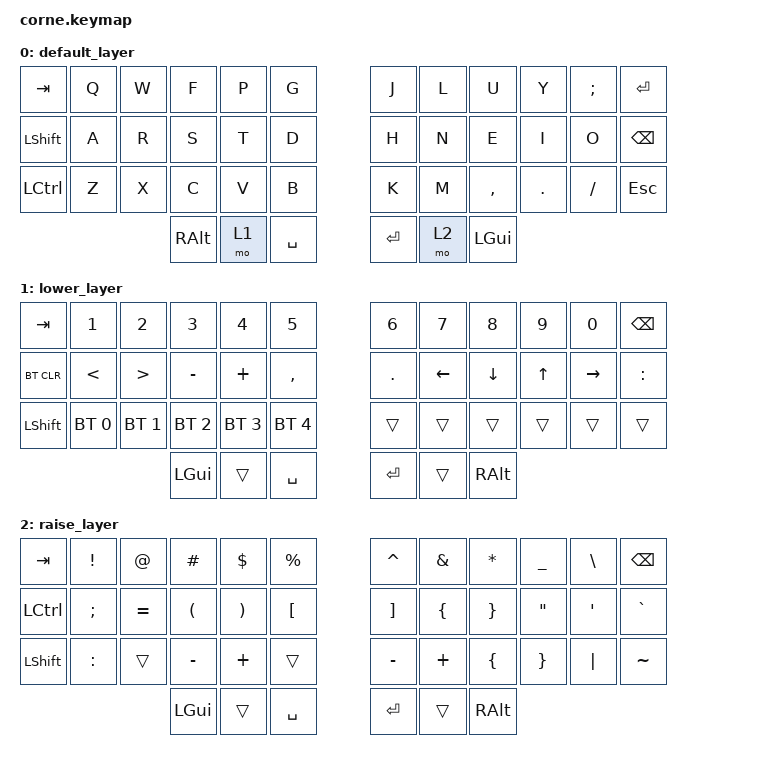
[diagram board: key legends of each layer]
/*
 * Copyright (c) 2020 The ZMK Contributors
 *
 * SPDX-License-Identifier: MIT
 */

#include <behaviors.dtsi>
#include <dt-bindings/zmk/keys.h>
#include <dt-bindings/zmk/bt.h>

/ {
        keymap {
                compatible = "zmk,keymap";

                default_layer {
// -----------------------------------------------------------------------------------------
// |  TAB |  Q  |  W  |  F  |  P  |  G  |   |  J  |  L   |  U  |  Y  |  ;  | RET |
// | SHFT |  A  |  R  |  S  |  T  |  D  |   |  H  |  N   |  E  |  I  |  O  |  BKSP |
// | CTRL |  Z  |  X  |  C  |  V  |  B  |   |  K  |  M   |  ,  |  .  |  /  | ESC  |
//                    | GUI | LWR | SPC |   | ENT | RSE  | ALT |
                        bindings = <
   &kp TAB   &kp Q &kp W &kp F &kp P &kp G   &kp J &kp L  &kp U     &kp Y   &kp SEMI    &kp RET
   &kp LSHFT &kp A &kp R &kp S &kp T &kp D   &kp H &kp N  &kp E     &kp I   &kp O &kp BSPC
   &kp LCTRL &kp Z &kp X &kp C &kp V &kp B   &kp K &kp M  &kp COMMA &kp DOT &kp FSLH &kp ESC
                  &kp RALT &mo 1 &kp SPACE   &kp RET &mo 2 &kp LGUI
                        >;
                };
                lower_layer {
// -----------------------------------------------------------------------------------------
// |  TAB |  1  |  2  |  3  |  4  |  5  |   |  6  |  7  |  8  |  9  |  0  | BKSP |
// | BTCLR|     |     |     |     |     |   | LFT | DWN |  UP | RGT |     |      |
// | SHFT | BT1 | BT2 | BT3 | BT4 | BT5 |   |     |     |     |     |     |      |
//                    | GUI |     | SPC |   | ENT |     | ALT |
                        bindings = <
   &kp TAB    &kp N1     &kp N2       &kp N3       &kp N4       &kp N5         &kp N6   &kp N7   &kp N8 &kp N9    &kp N0 &kp BSPC
   &bt BT_CLR &kp LESS_THAN   &kp GREATER_THAN      &kp MINUS   &kp PLUS &kp COMMA &kp DOT   &kp LEFT &kp DOWN &kp UP &kp RIGHT &kp COLON
   &kp LSHFT  &bt BT_SEL 0  &bt BT_SEL 1   &bt BT_SEL 2 &bt BT_SEL 3  &bt BT_SEL 4        &trans   &trans   &trans &trans    &trans &trans
                                    &kp LGUI     &trans       &kp SPACE      &kp RET  &trans   &kp RALT
                        >;
                };

                raise_layer {
// -----------------------------------------------------------------------------------------
// |  TAB |  !  |  @  |  #  |  $  |  %  |   |  ^  |  &  |  *  |  (  |  )  | BKSP |
// | CTRL |   ""  | ;  |  [   |  ]  |     |   |  -  |  =  |  [  |  ]  |  \  |  `   |
// | SHFT |   '' |     |     |     |     |   |  _  |  +  |  {  |  }  | "|" |  ~   |
//                    | GUI |     | SPC |   | ENT |     | ALT |
                        bindings = <
   &kp  TAB  &kp EXCL &kp AT &kp HASH &kp DLLR &kp PRCNT   &kp CARET &kp AMPS  &kp ASTRK &kp UNDER &kp BSLH &kp BSPC
   &kp LCTRL &kp SEMI &kp EQUAL &kp LPAR &kp RPAR &kp LBKT &kp RBKT &kp LBRC &kp RBRC &kp DOUBLE_QUOTES  &kp SINGLE_QUOTE  &kp GRAVE
   &kp LSHFT &kp COLON   &trans &kp MINUS   &kp PLUS   &trans      &kp MINUS &kp PLUS  &kp LBRC  &kp RBRC &kp PIPE &kp TILDE
                             &kp LGUI &trans   &kp SPACE   &kp RET   &trans    &kp RALT
                        >;
                };
        };
};
